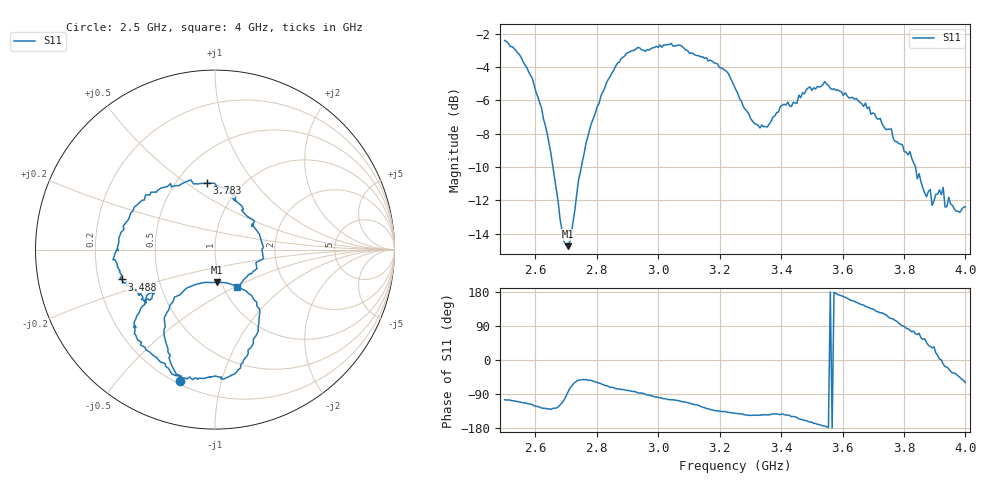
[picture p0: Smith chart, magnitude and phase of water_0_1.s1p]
# MHz S MA R 50
!  freq  S11
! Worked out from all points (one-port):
!   250 points, 2.5 GHz to 4 GHz, reference 50 ohm
!   lowest |S11| = -14.7 dB at 2.705 GHz (marker M1), VSWR 1.45, Z = 47.6 - j18 ohm
!   |S11| at or under -10 dB: 2.657 GHz to 2.75 GHz (92.27 MHz wide, 3.41 % of centre); 3.838 GHz to end of sweep
!   S11 on the Smith chart (normalised r, x): 2.5 GHz: 0.22, -0.75; 3.488 GHz: 0.30, -0.14; 3.783 GHz: 0.70, +0.60; 4 GHz: 1.16, -0.51
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2500  0.7586 -104.7
2548.193  0.6884 -110.6
2620.482  0.4748 -126.6
2650.602  0.3481 -130.5
2692.771  0.1899 -106.3
2704.819  0.1832 -87.1
2740.964  0.2897 -53.0
2777.108  0.4114 -53.1
2879.518  0.6691 -77.7
2933.735  0.7233 -86.3
3066.265  0.7352 -107.2
3186.747  0.6478 -134.0
3253.012  0.5393 -140.9
3331.325  0.4145 -146.0
3403.614  0.4846 -142.3
3439.759  0.4949 -148.9
3487.952  0.5462 -162.3
3542.169  0.5711 -174.2
3626.506  0.511 157.7
3722.892  0.4431 123.9
3783.133  0.372 97.0
3813.253  0.3443 82.2
3885.542  0.2709 35.9
3897.59  0.2502 34.8
3915.663  0.2703 2.4
3927.711  0.2748 -10.7
3933.735  0.2401 -17.4
4000  0.2404 -59.4
